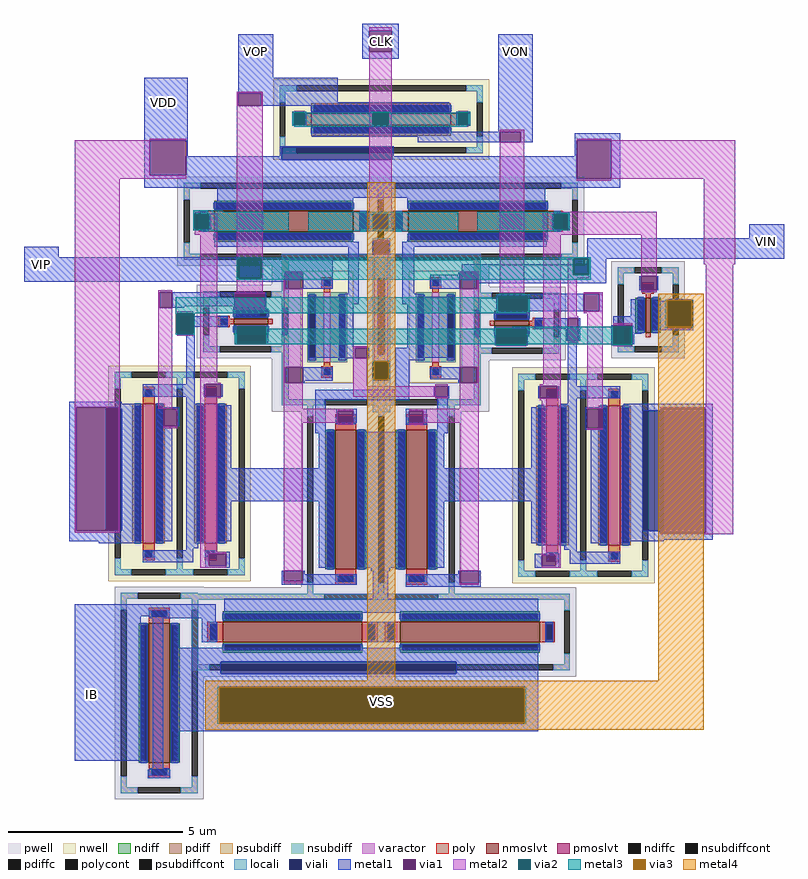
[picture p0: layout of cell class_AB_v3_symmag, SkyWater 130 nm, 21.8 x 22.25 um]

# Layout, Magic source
magic
tech sky130A
magscale 1 2
<< nwell >>
rect 1270 -630 1560 -620
rect 1258 -651 1560 -630
rect 1260 -1233 1560 -652
rect 1258 -1260 1560 -1233
rect 1880 -630 2170 -620
rect 1880 -1260 2182 -630
<< pwell >>
rect 1090 -620 2340 -480
rect 1090 -630 1270 -620
rect 1090 -1260 1258 -630
rect 1560 -1260 1880 -620
rect 2170 -630 2340 -620
rect 2182 -1260 2340 -630
rect 1090 -1320 2340 -1260
rect 1090 -1390 1260 -1320
rect 1740 -1330 1750 -1320
rect 2170 -1390 2340 -1320
rect 1090 -1426 1296 -1390
rect 2142 -1426 2340 -1390
<< psubdiff >>
rect 1150 -560 2290 -520
rect 1150 -1356 1190 -560
rect 1700 -660 1740 -560
rect 1150 -1360 1296 -1356
rect 1700 -1360 1740 -1100
rect 2250 -1356 2290 -560
rect 1150 -1380 1330 -1360
rect 1150 -1390 1296 -1380
rect 2142 -1390 2290 -1356
<< psubdiffcont >>
rect 1700 -1100 1740 -660
<< locali >>
rect 1670 -450 1770 -430
rect 1670 -520 1680 -450
rect 1760 -520 1770 -450
rect 1150 -560 2290 -520
rect 1150 -1356 1190 -560
rect 1670 -660 1770 -560
rect 1670 -1100 1700 -660
rect 1740 -1100 1770 -660
rect 1670 -1150 1770 -1100
rect 1670 -1230 1680 -1150
rect 1760 -1230 1770 -1150
rect 1150 -1360 1296 -1356
rect 1150 -1380 1330 -1360
rect 1150 -1390 1296 -1380
rect 1670 -1430 1770 -1230
rect 2250 -1356 2290 -560
rect 2142 -1390 2290 -1356
<< viali >>
rect 1150 20 1780 90
rect 1680 -520 1760 -450
rect 1680 -1230 1760 -1150
rect 140 -2110 230 -1410
rect 3380 -940 3440 -790
rect 3220 -2110 3340 -1420
rect 800 -2930 2150 -2860
<< metal1 >>
rect 1610 760 1820 800
rect 900 490 1100 740
rect 1610 640 1650 760
rect 1780 640 1820 760
rect 1610 600 1820 640
rect 360 130 610 490
rect 900 400 1470 490
rect 890 330 900 400
rect 1030 350 1470 400
rect 1030 330 2110 350
rect 1320 300 2110 330
rect 1210 220 1220 290
rect 1280 220 1290 290
rect 2150 220 2160 290
rect 2220 220 2230 290
rect 1320 180 2110 210
rect 2390 180 2590 740
rect 1320 150 2400 180
rect 360 -70 390 130
rect 600 40 610 130
rect 1930 120 2400 150
rect 2520 120 2590 180
rect 2830 130 3090 170
rect 1138 90 1792 96
rect 1138 40 1150 90
rect 600 20 1150 40
rect 1780 40 1792 90
rect 2830 40 2840 130
rect 1780 20 2840 40
rect 600 -70 2840 20
rect 360 -90 2840 -70
rect 3040 -90 3090 130
rect 360 -140 3090 -90
rect 780 -200 2660 -140
rect 780 -260 1560 -200
rect 1870 -260 2660 -200
rect 640 -380 650 -290
rect 730 -380 740 -290
rect 1600 -380 1670 -290
rect 1760 -380 1840 -290
rect 2700 -380 2710 -290
rect 2790 -380 2800 -290
rect 760 -450 1560 -410
rect 1880 -440 2670 -410
rect 3830 -430 4030 -350
rect 1668 -450 1772 -444
rect 1870 -450 2670 -440
rect 760 -480 1590 -450
rect -330 -540 -130 -480
rect -330 -630 1440 -540
rect -330 -680 1170 -630
rect 1160 -720 1170 -680
rect 1270 -720 1440 -630
rect 440 -830 450 -740
rect 520 -750 1060 -740
rect 1530 -750 1590 -480
rect 1668 -520 1680 -450
rect 1760 -520 1772 -450
rect 1668 -526 1772 -520
rect 1840 -480 2670 -450
rect 520 -820 880 -750
rect 520 -830 590 -820
rect 870 -830 880 -820
rect 1050 -830 1060 -750
rect 1510 -760 1590 -750
rect 870 -850 1060 -830
rect 880 -860 1060 -850
rect 1480 -810 1590 -760
rect 1840 -750 1910 -480
rect 2900 -550 4030 -430
rect 2900 -580 3010 -550
rect 2180 -630 3010 -580
rect 2160 -640 2170 -630
rect 2000 -720 2170 -640
rect 2270 -690 3010 -630
rect 2270 -720 2280 -690
rect 3200 -730 3210 -650
rect 3300 -730 3310 -650
rect 1840 -760 1930 -750
rect 2380 -760 2880 -750
rect 1840 -810 1960 -760
rect 550 -970 560 -870
rect 630 -880 640 -870
rect 880 -880 1020 -860
rect 630 -940 840 -880
rect 630 -970 650 -940
rect 600 -1270 650 -970
rect 880 -1030 890 -940
rect 1060 -1030 1070 -940
rect 1480 -1060 1560 -810
rect 1870 -1060 1960 -810
rect 2380 -850 2390 -760
rect 2560 -850 2880 -760
rect 2970 -850 2990 -750
rect 2380 -870 2570 -850
rect 3150 -880 3220 -780
rect 3374 -790 3446 -778
rect 2600 -890 2840 -889
rect 2600 -949 2790 -890
rect 2370 -1040 2380 -950
rect 2550 -1040 2560 -950
rect 2780 -1020 2790 -949
rect 2850 -1020 2860 -890
rect 3050 -930 3220 -880
rect 1480 -1120 1570 -1060
rect 1640 -1120 1650 -1060
rect 1800 -1130 1960 -1060
rect 1668 -1150 1772 -1144
rect 1160 -1260 1170 -1170
rect 1270 -1250 1440 -1170
rect 1668 -1230 1680 -1150
rect 1760 -1230 1772 -1150
rect 1668 -1236 1772 -1230
rect 1270 -1260 1280 -1250
rect 350 -1340 650 -1270
rect 700 -1340 710 -1270
rect 800 -1340 810 -1270
rect 1800 -1300 1880 -1130
rect 2000 -1240 2170 -1170
rect 2160 -1260 2170 -1240
rect 2270 -1260 2280 -1170
rect 2790 -1279 2840 -1020
rect 3040 -1040 3050 -930
rect 3160 -970 3220 -930
rect 3280 -940 3360 -790
rect 3500 -940 3510 -790
rect 3280 -960 3510 -940
rect 3160 -980 3210 -970
rect 3160 -1040 3170 -980
rect -70 -1380 230 -1370
rect 600 -1380 650 -1340
rect 1340 -1360 1880 -1300
rect 2020 -1340 2030 -1280
rect 2100 -1340 2110 -1280
rect 2040 -1350 2110 -1340
rect 2620 -1350 2630 -1280
rect 2730 -1350 2740 -1280
rect 2790 -1349 3090 -1279
rect -70 -1400 330 -1380
rect 600 -1390 670 -1380
rect -70 -2110 -30 -1400
rect 210 -1410 330 -1400
rect 470 -1410 560 -1400
rect 230 -2110 330 -1410
rect -70 -2170 330 -2110
rect 430 -1510 470 -1410
rect 540 -1420 560 -1410
rect 550 -1510 560 -1420
rect 430 -1520 550 -1510
rect 430 -2170 520 -1520
rect 100 -2180 330 -2170
rect 600 -2180 680 -1390
rect 790 -1750 860 -1390
rect 1340 -1530 1400 -1360
rect 1460 -1420 1580 -1410
rect 1460 -1490 1470 -1420
rect 1560 -1490 1580 -1420
rect 1860 -1420 1980 -1410
rect 1860 -1490 1880 -1420
rect 1960 -1490 1980 -1420
rect 1860 -1500 1980 -1490
rect 2040 -1530 2100 -1350
rect 2790 -1380 2840 -1349
rect 2750 -1390 2840 -1380
rect 1340 -1540 1410 -1530
rect 2030 -1540 2100 -1530
rect 1340 -1550 1440 -1540
rect 1360 -1750 1440 -1550
rect 790 -1940 1440 -1750
rect 790 -2170 860 -1940
rect 600 -2210 670 -2180
rect 600 -2220 640 -2210
rect 350 -2290 640 -2220
rect 710 -2240 850 -2230
rect 710 -2310 730 -2240
rect 830 -2310 850 -2240
rect 710 -2320 850 -2310
rect 1360 -2320 1440 -1940
rect 1590 -2320 1850 -1540
rect 2000 -1550 2100 -1540
rect 2000 -1750 2080 -1550
rect 2580 -1750 2650 -1400
rect 2000 -1940 2650 -1750
rect 2000 -2320 2080 -1940
rect 2580 -2180 2650 -1940
rect 2740 -1402 2840 -1390
rect 2740 -2178 2746 -1402
rect 2760 -2178 2840 -1402
rect 2890 -1410 3010 -1400
rect 2890 -1520 2900 -1410
rect 2990 -1520 3010 -1410
rect 3110 -1410 3620 -1380
rect 3110 -1420 3320 -1410
rect 2890 -1530 3014 -1520
rect 2740 -2190 2840 -2178
rect 2920 -2180 3014 -1530
rect 3110 -2110 3220 -1420
rect 3110 -2120 3320 -2110
rect 3580 -2120 3620 -1410
rect 3110 -2160 3620 -2120
rect 3110 -2170 3340 -2160
rect 2770 -2219 2840 -2190
rect 2800 -2229 2840 -2219
rect 2600 -2250 2740 -2240
rect 2600 -2310 2640 -2250
rect 2720 -2310 2740 -2250
rect 2800 -2299 3090 -2229
rect 2600 -2320 2740 -2310
rect 1660 -2340 1770 -2320
rect 1150 -2400 1160 -2340
rect 1270 -2360 1280 -2340
rect 1270 -2400 1580 -2360
rect 1150 -2420 1580 -2400
rect 1670 -2500 1760 -2340
rect 2160 -2360 2170 -2340
rect 1860 -2410 2170 -2360
rect 2280 -2410 2290 -2340
rect 1860 -2430 2290 -2410
rect -40 -2600 770 -2530
rect -40 -2650 340 -2600
rect 390 -2610 770 -2600
rect -40 -3430 360 -2650
rect 410 -3480 470 -2610
rect 530 -2780 560 -2650
rect 690 -2750 770 -2610
rect 820 -2580 2620 -2500
rect 820 -2620 1600 -2580
rect 1840 -2620 2620 -2580
rect 1650 -2750 1790 -2630
rect 530 -2860 2620 -2780
rect 530 -2930 800 -2860
rect 2150 -2930 2620 -2860
rect 530 -2940 2620 -2930
rect 520 -3010 2620 -2940
rect 520 -3210 790 -3010
rect 2540 -3210 2620 -3010
rect 520 -3260 2620 -3210
rect 530 -3430 560 -3260
rect 380 -3530 510 -3480
<< via1 >>
rect 1650 640 1780 760
rect 900 330 1030 400
rect 1220 220 1280 290
rect 2160 220 2220 290
rect 390 -70 600 130
rect 2400 120 2520 180
rect 2840 -90 3040 130
rect 650 -380 730 -290
rect 1670 -380 1760 -290
rect 2710 -380 2790 -290
rect 1170 -720 1270 -630
rect 450 -830 520 -740
rect 1680 -520 1760 -450
rect 880 -830 1050 -750
rect 2170 -720 2270 -630
rect 3210 -730 3300 -650
rect 560 -970 630 -870
rect 890 -1030 1060 -940
rect 2390 -850 2560 -760
rect 2880 -850 2970 -750
rect 2380 -1040 2550 -950
rect 2790 -1020 2850 -890
rect 1570 -1120 1640 -1060
rect 1170 -1260 1270 -1170
rect 1680 -1230 1760 -1150
rect 710 -1340 800 -1270
rect 2170 -1260 2270 -1170
rect 3050 -1040 3160 -930
rect 3360 -940 3380 -790
rect 3380 -940 3440 -790
rect 3440 -940 3500 -790
rect 2030 -1340 2100 -1280
rect 2630 -1350 2730 -1280
rect -30 -1410 210 -1400
rect -30 -2110 140 -1410
rect 140 -2110 210 -1410
rect 470 -1420 540 -1410
rect 470 -1510 550 -1420
rect 1470 -1490 1560 -1420
rect 1880 -1490 1960 -1420
rect 730 -2310 830 -2240
rect 2900 -1520 2990 -1410
rect 3320 -1420 3580 -1410
rect 3320 -2110 3340 -1420
rect 3340 -2110 3580 -1420
rect 3320 -2120 3580 -2110
rect 2640 -2310 2720 -2250
rect 1160 -2400 1270 -2340
rect 2170 -2410 2280 -2340
rect 790 -3210 2540 -3010
<< metal2 >>
rect 1650 760 1780 780
rect 890 400 1040 410
rect 890 330 900 400
rect 1030 330 1040 400
rect 390 130 600 140
rect -40 -70 390 130
rect -40 -90 600 -70
rect -40 -1400 220 -90
rect 650 -290 680 -280
rect 730 -380 780 -290
rect 650 -410 780 -380
rect -40 -2110 -30 -1400
rect 210 -2110 220 -1400
rect 440 -740 520 -730
rect 440 -830 450 -740
rect 440 -1410 520 -830
rect 550 -860 640 -850
rect 550 -990 640 -980
rect 680 -1260 780 -410
rect 890 -550 1040 330
rect 1220 290 1280 300
rect 1220 210 1280 220
rect 1650 290 1780 640
rect 1650 220 1670 290
rect 1760 220 1780 290
rect 1650 -290 1780 220
rect 2160 290 2220 300
rect 2160 210 2220 220
rect 1650 -380 1670 -290
rect 1760 -380 1780 -290
rect 2400 180 2540 190
rect 2520 120 2540 180
rect 1670 -390 1760 -380
rect 890 -660 900 -550
rect 1030 -660 1040 -550
rect 1680 -450 1760 -440
rect 1170 -630 1270 -620
rect 890 -740 1040 -660
rect 1160 -720 1170 -660
rect 880 -750 1050 -740
rect 880 -840 1050 -830
rect 890 -940 1060 -930
rect 890 -1040 1060 -1030
rect 1160 -1170 1270 -720
rect 1160 -1260 1170 -1170
rect 680 -1270 800 -1260
rect 680 -1340 710 -1270
rect 680 -1350 800 -1340
rect 540 -1420 550 -1410
rect 470 -1520 550 -1510
rect -40 -2120 220 -2110
rect 680 -2230 780 -1350
rect 1160 -1410 1270 -1260
rect 1560 -1060 1640 -1050
rect 1560 -1120 1570 -1060
rect 1560 -1280 1640 -1120
rect 1680 -1140 1760 -520
rect 1680 -1250 1760 -1240
rect 2170 -630 2280 -620
rect 2270 -720 2280 -630
rect 2170 -1170 2280 -720
rect 2400 -750 2540 120
rect 2840 130 3040 140
rect 3040 -90 3750 130
rect 2840 -100 3040 -90
rect 2650 -290 3300 -280
rect 2650 -380 2710 -290
rect 2790 -380 3300 -290
rect 2650 -410 3300 -380
rect 2390 -760 2560 -750
rect 2390 -860 2560 -850
rect 2380 -950 2550 -940
rect 2380 -1050 2550 -1040
rect 2270 -1260 2280 -1170
rect 2030 -1280 2100 -1270
rect 1560 -1340 2030 -1280
rect 2030 -1350 2100 -1340
rect 2170 -1410 2280 -1260
rect 2650 -1270 2750 -410
rect 2810 -550 2910 -540
rect 2790 -640 2820 -550
rect 2790 -660 2910 -640
rect 3210 -650 3300 -410
rect 3570 -580 3750 -90
rect 2790 -880 2840 -660
rect 3210 -740 3300 -730
rect 2880 -750 2990 -740
rect 2970 -850 2990 -750
rect 2880 -860 2990 -850
rect 2790 -890 2850 -880
rect 2790 -1030 2850 -1020
rect 2630 -1280 2750 -1270
rect 2730 -1350 2750 -1280
rect 2630 -1360 2750 -1350
rect 1160 -1420 1560 -1410
rect 1160 -1490 1470 -1420
rect 680 -2240 830 -2230
rect 680 -2310 730 -2240
rect 680 -2320 830 -2310
rect 1160 -2340 1270 -1490
rect 1470 -1500 1560 -1490
rect 1880 -1420 2280 -1410
rect 1960 -1490 2280 -1420
rect 1880 -1500 1960 -1490
rect 1160 -2410 1270 -2400
rect 2170 -2340 2280 -1490
rect 2640 -2250 2750 -1360
rect 2900 -1410 2990 -860
rect 3360 -790 3500 -780
rect 3050 -930 3160 -920
rect 3360 -950 3500 -940
rect 3050 -1050 3160 -1040
rect 3580 -1400 3740 -580
rect 2900 -1530 2990 -1520
rect 3320 -1410 3740 -1400
rect 3580 -2120 3740 -1410
rect 3320 -2130 3740 -2120
rect 2720 -2310 2750 -2250
rect 2640 -2320 2750 -2310
rect 2170 -2420 2280 -2410
rect 790 -3010 2540 -3000
rect 790 -3220 2540 -3210
<< via2 >>
rect 650 -380 730 -290
rect 550 -870 640 -860
rect 550 -970 560 -870
rect 560 -970 630 -870
rect 630 -970 640 -870
rect 550 -980 640 -970
rect 1220 220 1280 290
rect 1670 220 1760 290
rect 2160 220 2220 290
rect 1670 -380 1760 -290
rect 900 -660 1030 -550
rect 890 -1030 1060 -940
rect 1680 -1150 1760 -1140
rect 1680 -1230 1760 -1150
rect 1680 -1240 1760 -1230
rect 2710 -380 2790 -290
rect 2390 -850 2560 -760
rect 2380 -1040 2550 -950
rect 2820 -640 2910 -550
rect 3050 -1040 3150 -940
rect 3360 -940 3500 -790
rect 790 -3210 2540 -3010
<< metal3 >>
rect 1210 290 1290 295
rect 1660 290 1770 295
rect 2150 290 2230 295
rect 1210 220 1220 290
rect 1280 220 1670 290
rect 1760 220 2160 290
rect 2220 220 2230 290
rect 1210 215 2230 220
rect 1220 210 2210 215
rect 640 -280 810 -270
rect 640 -290 1190 -280
rect 640 -380 650 -290
rect 730 -380 1190 -290
rect 640 -385 1190 -380
rect 690 -390 1190 -385
rect 1300 -290 2160 -280
rect 1300 -380 1670 -290
rect 1760 -380 2160 -290
rect 1300 -390 2160 -380
rect 2270 -285 2750 -280
rect 2270 -290 2800 -285
rect 2270 -380 2710 -290
rect 2790 -380 2800 -290
rect 2270 -385 2800 -380
rect 2270 -390 2750 -385
rect 890 -550 2920 -540
rect 890 -660 900 -550
rect 1030 -640 2820 -550
rect 2910 -640 2920 -550
rect 1030 -660 2920 -640
rect 890 -670 2920 -660
rect 2380 -760 2570 -750
rect 2380 -770 2390 -760
rect 540 -850 2390 -770
rect 2560 -850 2570 -760
rect 540 -855 2570 -850
rect 3350 -790 3510 -785
rect 540 -860 2550 -855
rect 540 -980 550 -860
rect 640 -980 650 -860
rect 540 -985 650 -980
rect 880 -940 1070 -935
rect 3040 -940 3160 -935
rect 880 -1030 890 -940
rect 1060 -950 1070 -940
rect 2470 -945 3050 -940
rect 2370 -950 3050 -945
rect 1060 -1030 2380 -950
rect 880 -1040 2380 -1030
rect 2550 -1040 3050 -950
rect 3150 -1040 3160 -940
rect 3350 -940 3360 -790
rect 3500 -940 3510 -790
rect 3350 -945 3510 -940
rect 2370 -1045 2560 -1040
rect 3040 -1045 3160 -1040
rect 1670 -1140 1770 -1135
rect 1670 -1240 1680 -1140
rect 1760 -1240 1770 -1140
rect 1670 -1245 1770 -1240
rect 780 -3010 2550 -3005
rect 780 -3210 790 -3010
rect 2540 -3210 2550 -3010
rect 780 -3215 2550 -3210
<< via3 >>
rect 3360 -940 3500 -790
rect 1680 -1240 1760 -1140
rect 790 -3210 2540 -3010
<< metal4 >>
rect 1640 -1140 1800 -110
rect 1640 -1240 1680 -1140
rect 1760 -1240 1800 -1140
rect 1640 -2970 1800 -1240
rect 3310 -790 3570 -750
rect 3310 -940 3360 -790
rect 3500 -940 3570 -790
rect 3310 -2970 3570 -940
rect 710 -3010 3570 -2970
rect 710 -3210 790 -3010
rect 2540 -3210 3570 -3010
rect 710 -3250 3570 -3210
use sky130_fd_pr__cap_var_lvt_CYVAFU  XC1
transform 1 0 1409 0 1 -942
box -151 -318 151 318
use sky130_fd_pr__cap_var_lvt_CYVAFU  XC2
transform 1 0 2031 0 1 -942
box -151 -318 151 318
use sky130_fd_pr__nfet_01v8_lvt_64Z3AY  XM1
transform 1 0 3251 0 1 -841
box -211 -279 211 279
use sky130_fd_pr__pfet_01v8_lvt_4QFHB3  XM2
transform 0 1 1719 -1 0 251
box -231 -619 231 619
use sky130_fd_pr__nfet_01v8_lvt_AWHWK2  XM3
transform 0 1 2274 -1 0 -334
box -256 -610 256 610
use sky130_fd_pr__nfet_01v8_lvt_AWHWK2  XM4
transform 0 1 1160 -1 0 -334
box -256 -610 256 610
use sky130_fd_pr__pfet_01v8_lvt_4QFHB3  XM6
transform 1 0 3057 0 1 -1791
box -231 -619 231 619
use sky130_fd_pr__pfet_01v8_lvt_4QFHB3  XM7
transform 1 0 385 0 1 -1781
box -231 -619 231 619
use sky130_fd_pr__pfet_01v8_lvt_4QFHB3  XM9
transform -1 0 2701 0 -1 -1791
box -231 -619 231 619
use sky130_fd_pr__nfet_01v8_lvt_64Z3AY  XM10
transform 0 -1 941 1 0 -909
box -211 -279 211 279
use sky130_fd_pr__nfet_01v8_lvt_64Z3AY  XM11
transform 0 1 2499 -1 0 -919
box -211 -279 211 279
use sky130_fd_pr__nfet_01v8_lvt_AWHWK2  XM12
transform 1 0 446 0 1 -3040
box -256 -610 256 610
use sky130_fd_pr__nfet_01v8_lvt_WJMR3R  XM13
transform 0 1 1719 -1 0 -2690
box -256 -1119 256 1119
use sky130_fd_pr__pfet_01v8_lvt_4QFHB3  XM14
transform -1 0 741 0 -1 -1781
box -231 -619 231 619
use sky130_fd_pr__nfet_01v8_lvt_AWHWK2  XM15
transform 1 0 1922 0 1 -1930
box -256 -610 256 610
use sky130_fd_pr__nfet_01v8_lvt_AWHWK2  XM17
transform 1 0 1516 0 1 -1930
box -256 -610 256 610
<< labels >>
flabel metal1 370 250 570 450 0 FreeSans 256 0 0 0 VDD
port 0 nsew
flabel metal1 -40 -3150 160 -2950 0 FreeSans 256 0 0 0 IB
port 5 nsew
flabel metal4 1620 -3190 1820 -2990 0 FreeSans 256 0 0 0 VSS
port 7 nsew
flabel metal1 -330 -680 -130 -480 0 FreeSans 256 0 0 0 VIP
port 4 nsew
flabel metal1 900 540 1100 740 0 FreeSans 256 0 0 0 VOP
port 1 nsew
flabel metal1 2390 540 2590 740 0 FreeSans 256 0 0 0 VON
port 2 nsew
flabel metal1 1620 600 1820 800 0 FreeSans 256 0 0 0 CLK
port 6 nsew
flabel metal1 3830 -550 4030 -350 0 FreeSans 256 0 0 0 VIN
port 3 nsew
<< end >>

# cell sky130_fd_pr__cap_var_lvt_CYVAFU: kit device sky130_fd_pr__cap_var_lvt, w 2.0 l 0.18 m 1 nf 1 diffcov 100 polycov 100 guard 0 glc 1 grc 1 gtc 1 gbc 0 tbcov 100 rlcov 100 topc 1 botc 1 poverlap 0 doverlap 1 lmin 0.18 wmin 1.0 compatible {sky130_fd_pr__cap_var_lvt sky130_fd_pr__cap_var_hvt sky130_fd_pr__cap_var} full_metal 0 viasrc 100 viadrn 100 viagate 100 viagb 0 viagr 0 viagl 0 viagt 0 gshield 1

# cell sky130_fd_pr__nfet_01v8_lvt_64Z3AY: kit device sky130_fd_pr__nfet_01v8_lvt, w 1.0 l 0.15 m 1 nf 1 diffcov 100 polycov 100 guard 1 glc 1 grc 1 gtc 1 gbc 1 tbcov 100 rlcov 100 topc 1 botc 0 poverlap 0 doverlap 1 lmin 0.15 wmin 0.42 compatible {sky130_fd_pr__nfet_01v8 sky130_fd_pr__nfet_01v8_lvt sky130_fd_bs_flash__special_sonosfet_star sky130_fd_pr__nfet_g5v0d10v5 sky130_fd_pr__nfet_05v0_nvt sky130_fd_pr__nfet_03v3_nvt} full_metal 1 viasrc 100 viadrn 100 viagate 100 viagb 0 viagr 0 viagl 0 viagt 0

# cell sky130_fd_pr__pfet_01v8_lvt_4QFHB3: kit device sky130_fd_pr__pfet_01v8_lvt, w 4.0 l 0.35 m 1 nf 1 diffcov 100 polycov 100 guard 1 glc 1 grc 1 gtc 1 gbc 1 tbcov 100 rlcov 100 topc 1 botc 1 poverlap 0 doverlap 1 lmin 0.35 wmin 0.42 compatible {sky130_fd_pr__pfet_01v8 sky130_fd_pr__pfet_01v8_lvt sky130_fd_pr__pfet_01v8_hvt sky130_fd_pr__pfet_g5v0d10v5} full_metal 1 viasrc 100 viadrn 100 viagate 100 viagb 0 viagr 0 viagl 0 viagt 0

# cell sky130_fd_pr__nfet_01v8_lvt_AWHWK2: kit device sky130_fd_pr__nfet_01v8_lvt, w 4.0 l 0.6 m 1 nf 1 diffcov 100 polycov 100 guard 1 glc 1 grc 1 gtc 1 gbc 1 tbcov 100 rlcov 100 topc 1 botc 1 poverlap 0 doverlap 1 lmin 0.15 wmin 0.42 compatible {sky130_fd_pr__nfet_01v8 sky130_fd_pr__nfet_01v8_lvt sky130_fd_bs_flash__special_sonosfet_star sky130_fd_pr__nfet_g5v0d10v5 sky130_fd_pr__nfet_05v0_nvt sky130_fd_pr__nfet_03v3_nvt} full_metal 1 viasrc 100 viadrn 100 viagate 100 viagb 0 viagr 0 viagl 0 viagt 0

# cell sky130_fd_pr__nfet_01v8_lvt_WJMR3R: kit device sky130_fd_pr__nfet_01v8_lvt, w 4.0 l 0.6 m 2 nf 1 diffcov 100 polycov 100 guard 1 glc 0 grc 1 gtc 1 gbc 0 tbcov 100 rlcov 100 topc 1 botc 1 poverlap 0 doverlap 1 lmin 0.15 wmin 0.42 compatible {sky130_fd_pr__nfet_01v8 sky130_fd_pr__nfet_01v8_lvt sky130_fd_bs_flash__special_sonosfet_star sky130_fd_pr__nfet_g5v0d10v5 sky130_fd_pr__nfet_05v0_nvt sky130_fd_pr__nfet_03v3_nvt} full_metal 1 viasrc 100 viadrn 100 viagate 100 viagb 0 viagr 0 viagl 0 viagt 0
